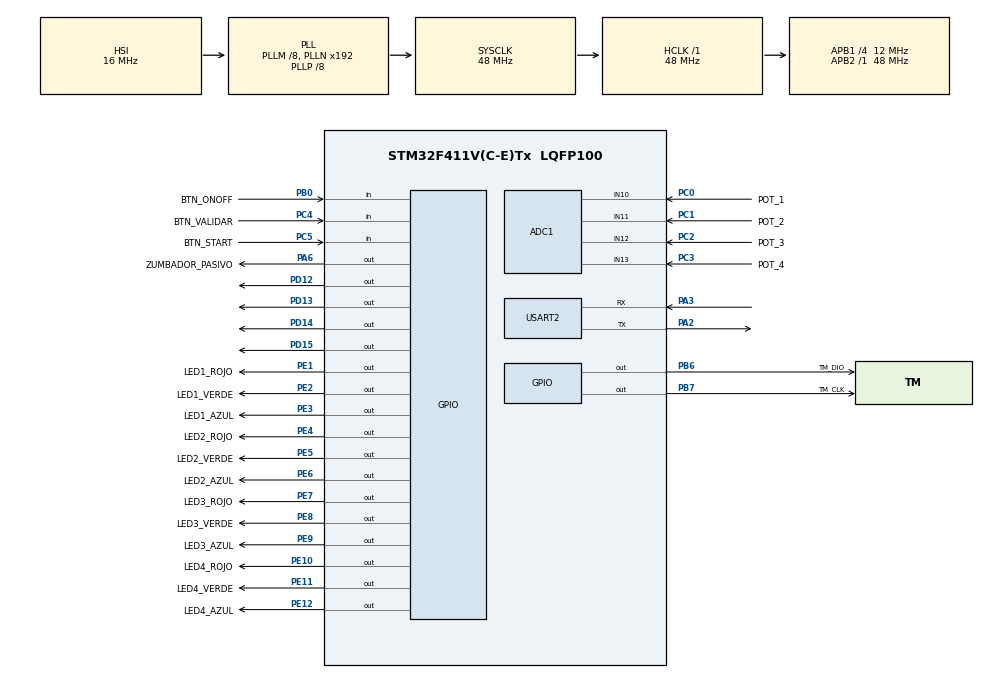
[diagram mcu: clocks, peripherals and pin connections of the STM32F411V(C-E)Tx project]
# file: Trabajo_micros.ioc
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ADC1.Channel-0\#ChannelRegularConversion=ADC_CHANNEL_10
ADC1.NbrOfConversionFlag=1
ADC1.Rank-0\#ChannelRegularConversion=1
ADC1.SamplingTime-0\#ChannelRegularConversion=ADC_SAMPLETIME_3CYCLES
ADC1.master=1
Mcu.Family=STM32F4
Mcu.Name=STM32F411V(C-E)Tx
Mcu.Package=LQFP100
NVIC.PriorityGroup=NVIC_PRIORITYGROUP_0
PA2.Mode=Asynchronous
PA2.Signal=USART2_TX
PA3.Mode=Asynchronous
PA3.Signal=USART2_RX
PA6.GPIO_Label=ZUMBADOR_PASIVO
PA6.Signal=GPIO_Output
PB0.GPIO_Label=BTN_ONOFF
PB0.Signal=GPIO_Input
PB6.GPIO_Label=TM_DIO
PB6.Signal=GPIO_Output
PB7.GPIO_Label=TM_CLK
PB7.Signal=GPIO_Output
PC0.GPIO_Label=POT_1
PC0.Signal=ADCx_IN10
PC1.GPIO_Label=POT_2
PC1.Signal=ADCx_IN11
PC2.GPIO_Label=POT_3
PC2.Signal=ADCx_IN12
PC3.GPIO_Label=POT_4
PC3.Signal=ADCx_IN13
PC4.GPIO_Label=BTN_VALIDAR
PC4.Signal=GPIO_Input
PC5.GPIO_Label=BTN_START
PC5.Signal=GPIO_Input
PD12.Signal=GPIO_Output
PD13.Signal=GPIO_Output
PD14.Signal=GPIO_Output
PD15.Signal=GPIO_Output
PE1.GPIO_Label=LED1_ROJO
PE1.Signal=GPIO_Output
PE10.GPIO_Label=LED4_ROJO
PE10.Signal=GPIO_Output
PE11.GPIO_Label=LED4_VERDE
PE11.Signal=GPIO_Output
PE12.GPIO_Label=LED4_AZUL
PE12.Signal=GPIO_Output
PE2.GPIO_Label=LED1_VERDE
PE2.Signal=GPIO_Output
PE3.GPIO_Label=LED1_AZUL
PE3.Signal=GPIO_Output
PE4.GPIO_Label=LED2_ROJO
PE4.Signal=GPIO_Output
PE5.GPIO_Label=LED2_VERDE
PE5.Signal=GPIO_Output
PE6.GPIO_Label=LED2_AZUL
PE6.Signal=GPIO_Output
PE7.GPIO_Label=LED3_ROJO
PE7.Signal=GPIO_Output
PE8.GPIO_Label=LED3_VERDE
PE8.Signal=GPIO_Output
PE9.GPIO_Label=LED3_AZUL
PE9.Signal=GPIO_Output
ProjectManager.HeapSize=0x200
ProjectManager.StackSize=0x400
ProjectManager.TargetToolchain=STM32CubeIDE
RCC.48MHZClocksFreq_Value=48000000
RCC.AHBFreq_Value=48000000
RCC.APB1CLKDivider=RCC_HCLK_DIV4
RCC.APB1Freq_Value=12000000
RCC.APB1TimFreq_Value=24000000
RCC.APB2Freq_Value=48000000
RCC.APB2TimFreq_Value=48000000
RCC.CortexFreq_Value=48000000
RCC.HCLKFreq_Value=48000000
RCC.HSE_VALUE=8000000
RCC.HSI_VALUE=16000000
RCC.LSE_VALUE=32768
RCC.PLLI2SM=5
RCC.PLLI2SN=200
RCC.PLLM=8
RCC.PLLP=RCC_PLLP_DIV8
RCC.PLLQ=8
RCC.SYSCLKFreq_VALUE=48000000
RCC.SYSCLKSource=RCC_SYSCLKSOURCE_PLLCLK
RCC.VCOOutputFreq_Value=384000000
SH.ADCx_IN10.0=ADC1_IN10,IN10
SH.ADCx_IN11.0=ADC1_IN11,IN11
SH.ADCx_IN12.0=ADC1_IN12,IN12
SH.ADCx_IN13.0=ADC1_IN13,IN13
USART2.VirtualMode=VM_ASYNC
board=STM32F411E-DISCO

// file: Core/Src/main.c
/* USER CODE BEGIN Header */
/**
  ******************************************************************************
  * @file           : main.c
  * @brief          : Main program body
  ******************************************************************************
  * @attention
  *
  * Copyright (c) 2026 STMicroelectronics.
  * All rights reserved.
  *
  * This software is licensed under terms that can be found in the LICENSE file
  * in the root directory of this software component.
  * If no LICENSE file comes with this software, it is provided AS-IS.
  *
  ******************************************************************************
  */
/* USER CODE END Header */
#include "main.h"

/* USER CODE BEGIN Includes */
#include <stdio.h>
#include "potenciometros.h"
#include "maquina_estados.h"
#include "display_pot.h"

/* USER CODE END Includes */

ADC_HandleTypeDef hadc1;

UART_HandleTypeDef huart2;

/* USER CODE BEGIN PV */
	#define NUM_POT 4
	int valores_actuales[NUM_POT];
	uint8_t digitos_display[4]={0,0,0,0};
/* USER CODE END PV */

void SystemClock_Config(void);
static void MX_GPIO_Init(void);
static void MX_ADC1_Init(void);
static void MX_USART2_UART_Init(void);

int main(void)
{

  /* MCU Configuration--------------------------------------------------------*/

  /* Reset of all peripherals, Initializes the Flash interface and the Systick. */
  HAL_Init();

  /* Configure the system clock */
  SystemClock_Config();

  /* Initialize all configured peripherals */
  MX_GPIO_Init();
  MX_ADC1_Init();
  MX_USART2_UART_Init();
  /* USER CODE BEGIN 2 */
  TM1637_Init(5);//enciende el display con intensidad 5
  /* USER CODE END 2 */

  /* Infinite loop */
  /* USER CODE BEGIN WHILE */
  uint32_t ultimo_tiempo = 0;
  while (1)
  {
	 // actualizar_estados();

	  if (HAL_GetTick()-ultimo_tiempo>=50){
		  ultimo_tiempo=HAL_GetTick();
		  //Lee los 4 potenciometros
		  	POT_ObtenerValores(&hadc1, valores_actuales,NUM_POT);
		  	for(int i =0; i < NUM_POT; i++){
		  		if (valores_actuales[i] < 0) valores_actuales[i] = 0;
				if (valores_actuales[i] > 9) valores_actuales[i] = 9;
				digitos_display[i] = (uint8_t)valores_actuales[i];
		  	}
		  	TM1637_MostrarDigitos(digitos_display);

	  }
    /* USER CODE END WHILE */

  }
}

void SystemClock_Config(void)
{
  RCC_OscInitTypeDef RCC_OscInitStruct = {0};
  RCC_ClkInitTypeDef RCC_ClkInitStruct = {0};

  /** Configure the main internal regulator output voltage
  */
  __HAL_RCC_PWR_CLK_ENABLE();
  __HAL_PWR_VOLTAGESCALING_CONFIG(PWR_REGULATOR_VOLTAGE_SCALE1);

  /** Initializes the RCC Oscillators according to the specified parameters
  * in the RCC_OscInitTypeDef structure.
  */
  RCC_OscInitStruct.OscillatorType = RCC_OSCILLATORTYPE_HSI;
  RCC_OscInitStruct.HSIState = RCC_HSI_ON;
  RCC_OscInitStruct.HSICalibrationValue = RCC_HSICALIBRATION_DEFAULT;
  RCC_OscInitStruct.PLL.PLLState = RCC_PLL_ON;
  RCC_OscInitStruct.PLL.PLLSource = RCC_PLLSOURCE_HSI;
  RCC_OscInitStruct.PLL.PLLM = 8;
  RCC_OscInitStruct.PLL.PLLN = 192;
  RCC_OscInitStruct.PLL.PLLP = RCC_PLLP_DIV8;
  RCC_OscInitStruct.PLL.PLLQ = 8;
  if (HAL_RCC_OscConfig(&RCC_OscInitStruct) != HAL_OK)
  {
    Error_Handler();
  }

  /** Initializes the CPU, AHB and APB buses clocks
  */
  RCC_ClkInitStruct.ClockType = RCC_CLOCKTYPE_HCLK|RCC_CLOCKTYPE_SYSCLK
                              |RCC_CLOCKTYPE_PCLK1|RCC_CLOCKTYPE_PCLK2;
  RCC_ClkInitStruct.SYSCLKSource = RCC_SYSCLKSOURCE_PLLCLK;
  RCC_ClkInitStruct.AHBCLKDivider = RCC_SYSCLK_DIV1;
  RCC_ClkInitStruct.APB1CLKDivider = RCC_HCLK_DIV4;
  RCC_ClkInitStruct.APB2CLKDivider = RCC_HCLK_DIV1;

  if (HAL_RCC_ClockConfig(&RCC_ClkInitStruct, FLASH_LATENCY_1) != HAL_OK)
  {
    Error_Handler();
  }
}

static void MX_ADC1_Init(void)
{

  ADC_ChannelConfTypeDef sConfig = {0};

  /** Configure the global features of the ADC (Clock, Resolution, Data Alignment and number of conversion)
  */
  hadc1.Instance = ADC1;
  hadc1.Init.ClockPrescaler = ADC_CLOCK_SYNC_PCLK_DIV2;
  hadc1.Init.Resolution = ADC_RESOLUTION_12B;
  hadc1.Init.ScanConvMode = DISABLE;
  hadc1.Init.ContinuousConvMode = DISABLE;
  hadc1.Init.DiscontinuousConvMode = DISABLE;
  hadc1.Init.ExternalTrigConvEdge = ADC_EXTERNALTRIGCONVEDGE_NONE;
  hadc1.Init.ExternalTrigConv = ADC_SOFTWARE_START;
  hadc1.Init.DataAlign = ADC_DATAALIGN_RIGHT;
  hadc1.Init.NbrOfConversion = 1;
  hadc1.Init.DMAContinuousRequests = DISABLE;
  hadc1.Init.EOCSelection = ADC_EOC_SINGLE_CONV;
  if (HAL_ADC_Init(&hadc1) != HAL_OK)
  {
    Error_Handler();
  }

  /** Configure for the selected ADC regular channel its corresponding rank in the sequencer and its sample time.
  */
  sConfig.Channel = ADC_CHANNEL_10;
  sConfig.Rank = 1;
  sConfig.SamplingTime = ADC_SAMPLETIME_3CYCLES;
  if (HAL_ADC_ConfigChannel(&hadc1, &sConfig) != HAL_OK)
  {
    Error_Handler();
  }

}

static void MX_USART2_UART_Init(void)
{

  huart2.Instance = USART2;
  huart2.Init.BaudRate = 115200;
  huart2.Init.WordLength = UART_WORDLENGTH_8B;
  huart2.Init.StopBits = UART_STOPBITS_1;
  huart2.Init.Parity = UART_PARITY_NONE;
  huart2.Init.Mode = UART_MODE_TX_RX;
  huart2.Init.HwFlowCtl = UART_HWCONTROL_NONE;
  huart2.Init.OverSampling = UART_OVERSAMPLING_16;
  if (HAL_UART_Init(&huart2) != HAL_OK)
  {
    Error_Handler();
  }

}

static void MX_GPIO_Init(void)
{
  GPIO_InitTypeDef GPIO_InitStruct = {0};

  /* GPIO Ports Clock Enable */
  __HAL_RCC_GPIOE_CLK_ENABLE();
  __HAL_RCC_GPIOC_CLK_ENABLE();
  __HAL_RCC_GPIOA_CLK_ENABLE();
  __HAL_RCC_GPIOB_CLK_ENABLE();
  __HAL_RCC_GPIOD_CLK_ENABLE();

  /*Configure GPIO pin Output Level */
  HAL_GPIO_WritePin(GPIOE, LED1_VERDE_Pin|LED1_AZUL_Pin|LED2_ROJO_Pin|LED2_VERDE_Pin
                          |LED2_AZUL_Pin|LED3_ROJO_Pin|LED3_VERDE_Pin|LED3_AZUL_Pin
                          |LED4_ROJO_Pin|LED4_VERDE_Pin|LED4_AZUL_Pin|LED1_ROJO_Pin, GPIO_PIN_RESET);

  /*Configure GPIO pin Output Level */
  HAL_GPIO_WritePin(ZUMBADOR_PASIVO_GPIO_Port, ZUMBADOR_PASIVO_Pin, GPIO_PIN_RESET);

  /*Configure GPIO pin Output Level */
  HAL_GPIO_WritePin(GPIOD, GPIO_PIN_12|GPIO_PIN_13|GPIO_PIN_14|GPIO_PIN_15, GPIO_PIN_RESET);

  /*Configure GPIO pin Output Level */
  HAL_GPIO_WritePin(GPIOB, TM_DIO_Pin|TM_CLK_Pin, GPIO_PIN_RESET);

  /*Configure GPIO pins : LED1_VERDE_Pin LED1_AZUL_Pin LED2_ROJO_Pin LED2_VERDE_Pin
                           LED2_AZUL_Pin LED3_ROJO_Pin LED3_VERDE_Pin LED3_AZUL_Pin
                           LED4_ROJO_Pin LED4_VERDE_Pin LED4_AZUL_Pin LED1_ROJO_Pin */
  GPIO_InitStruct.Pin = LED1_VERDE_Pin|LED1_AZUL_Pin|LED2_ROJO_Pin|LED2_VERDE_Pin
                          |LED2_AZUL_Pin|LED3_ROJO_Pin|LED3_VERDE_Pin|LED3_AZUL_Pin
                          |LED4_ROJO_Pin|LED4_VERDE_Pin|LED4_AZUL_Pin|LED1_ROJO_Pin;
  GPIO_InitStruct.Mode = GPIO_MODE_OUTPUT_PP;
  GPIO_InitStruct.Pull = GPIO_NOPULL;
  GPIO_InitStruct.Speed = GPIO_SPEED_FREQ_LOW;
  HAL_GPIO_Init(GPIOE, &GPIO_InitStruct);

  /*Configure GPIO pin : ZUMBADOR_PASIVO_Pin */
  GPIO_InitStruct.Pin = ZUMBADOR_PASIVO_Pin;
  GPIO_InitStruct.Mode = GPIO_MODE_OUTPUT_PP;
  GPIO_InitStruct.Pull = GPIO_NOPULL;
  GPIO_InitStruct.Speed = GPIO_SPEED_FREQ_LOW;
  HAL_GPIO_Init(ZUMBADOR_PASIVO_GPIO_Port, &GPIO_InitStruct);

  /*Configure GPIO pins : BTN_VALIDAR_Pin BTN_START_Pin */
  GPIO_InitStruct.Pin = BTN_VALIDAR_Pin|BTN_START_Pin;
  GPIO_InitStruct.Mode = GPIO_MODE_INPUT;
  GPIO_InitStruct.Pull = GPIO_NOPULL;
  HAL_GPIO_Init(GPIOC, &GPIO_InitStruct);

  /*Configure GPIO pin : BTN_ONOFF_Pin */
  GPIO_InitStruct.Pin = BTN_ONOFF_Pin;
  GPIO_InitStruct.Mode = GPIO_MODE_INPUT;
  GPIO_InitStruct.Pull = GPIO_NOPULL;
  HAL_GPIO_Init(BTN_ONOFF_GPIO_Port, &GPIO_InitStruct);

  /*Configure GPIO pins : PD12 PD13 PD14 PD15 */
  GPIO_InitStruct.Pin = GPIO_PIN_12|GPIO_PIN_13|GPIO_PIN_14|GPIO_PIN_15;
  GPIO_InitStruct.Mode = GPIO_MODE_OUTPUT_PP;
  GPIO_InitStruct.Pull = GPIO_NOPULL;
  GPIO_InitStruct.Speed = GPIO_SPEED_FREQ_LOW;
  HAL_GPIO_Init(GPIOD, &GPIO_InitStruct);

  /*Configure GPIO pins : TM_DIO_Pin TM_CLK_Pin */
  GPIO_InitStruct.Pin = TM_DIO_Pin|TM_CLK_Pin;
  GPIO_InitStruct.Mode = GPIO_MODE_OUTPUT_PP;
  GPIO_InitStruct.Pull = GPIO_NOPULL;
  GPIO_InitStruct.Speed = GPIO_SPEED_FREQ_LOW;
  HAL_GPIO_Init(GPIOB, &GPIO_InitStruct);

}

void Error_Handler(void)
{
  __disable_irq();
  while (1)
  {
  }
}
